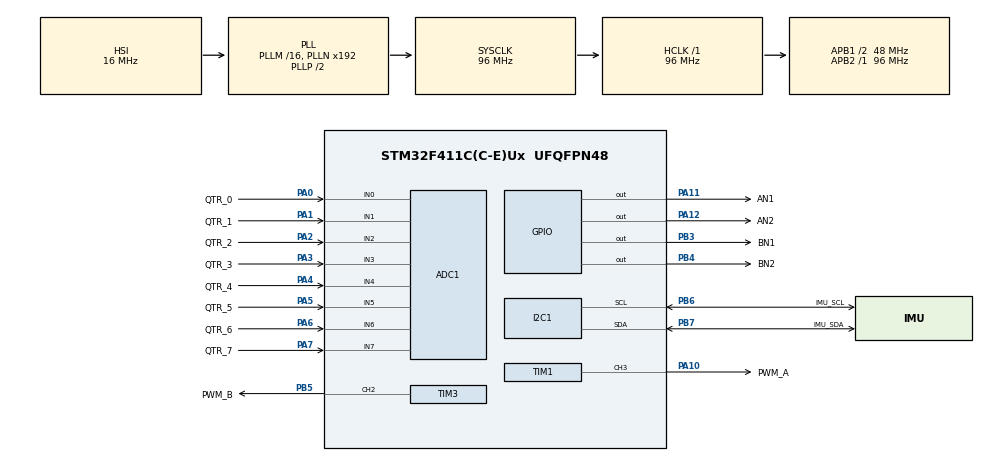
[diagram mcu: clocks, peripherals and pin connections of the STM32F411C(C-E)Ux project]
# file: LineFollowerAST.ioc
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ADC1.Channel-0\#ChannelRegularConversion=ADC_CHANNEL_0
ADC1.Channel-1\#ChannelRegularConversion=ADC_CHANNEL_1
ADC1.Channel-2\#ChannelRegularConversion=ADC_CHANNEL_2
ADC1.Channel-3\#ChannelRegularConversion=ADC_CHANNEL_3
ADC1.Channel-4\#ChannelRegularConversion=ADC_CHANNEL_4
ADC1.Channel-5\#ChannelRegularConversion=ADC_CHANNEL_5
ADC1.Channel-6\#ChannelRegularConversion=ADC_CHANNEL_6
ADC1.Channel-7\#ChannelRegularConversion=ADC_CHANNEL_7
ADC1.ContinuousConvMode=ENABLE
ADC1.DMAContinuousRequests=ENABLE
ADC1.EOCSelection=ADC_EOC_SEQ_CONV
ADC1.NbrOfConversion=8
ADC1.NbrOfConversionFlag=1
ADC1.Rank-0\#ChannelRegularConversion=1
ADC1.Rank-1\#ChannelRegularConversion=2
ADC1.Rank-2\#ChannelRegularConversion=3
ADC1.Rank-3\#ChannelRegularConversion=4
ADC1.Rank-4\#ChannelRegularConversion=5
ADC1.Rank-5\#ChannelRegularConversion=6
ADC1.Rank-6\#ChannelRegularConversion=7
ADC1.Rank-7\#ChannelRegularConversion=8
ADC1.SamplingTime-0\#ChannelRegularConversion=ADC_SAMPLETIME_56CYCLES
ADC1.SamplingTime-1\#ChannelRegularConversion=ADC_SAMPLETIME_56CYCLES
ADC1.SamplingTime-2\#ChannelRegularConversion=ADC_SAMPLETIME_56CYCLES
ADC1.SamplingTime-3\#ChannelRegularConversion=ADC_SAMPLETIME_56CYCLES
ADC1.SamplingTime-4\#ChannelRegularConversion=ADC_SAMPLETIME_56CYCLES
ADC1.SamplingTime-5\#ChannelRegularConversion=ADC_SAMPLETIME_56CYCLES
ADC1.SamplingTime-6\#ChannelRegularConversion=ADC_SAMPLETIME_56CYCLES
ADC1.SamplingTime-7\#ChannelRegularConversion=ADC_SAMPLETIME_56CYCLES
ADC1.ScanConvMode=ENABLE
ADC1.master=1
Dma.ADC1.0.Direction=DMA_PERIPH_TO_MEMORY
Dma.ADC1.0.FIFOMode=DMA_FIFOMODE_DISABLE
Dma.ADC1.0.Instance=DMA2_Stream0
Dma.ADC1.0.MemDataAlignment=DMA_MDATAALIGN_HALFWORD
Dma.ADC1.0.MemInc=DMA_MINC_ENABLE
Dma.ADC1.0.Mode=DMA_CIRCULAR
Dma.ADC1.0.PeriphDataAlignment=DMA_PDATAALIGN_HALFWORD
Dma.ADC1.0.PeriphInc=DMA_PINC_DISABLE
Dma.ADC1.0.Priority=DMA_PRIORITY_HIGH
Dma.Request0=ADC1
I2C1.I2C_Mode=I2C_Fast
Mcu.Family=STM32F4
Mcu.Name=STM32F411C(C-E)Ux
Mcu.Package=UFQFPN48
NVIC.DMA2_Stream0_IRQn=true\:0\:0\:false\:false\:true\:false\:true\:true
NVIC.I2C1_ER_IRQn=true\:0\:0\:false\:false\:true\:true\:true\:true
NVIC.I2C1_EV_IRQn=true\:0\:0\:false\:false\:true\:true\:true\:true
NVIC.PriorityGroup=NVIC_PRIORITYGROUP_4
NVIC.TIM1_UP_TIM10_IRQn=true\:0\:0\:false\:false\:true\:true\:true\:true
PA0-WKUP.GPIO_Label=QTR_0
PA0-WKUP.Signal=SharedAnalog_PA0
PA1.GPIO_Label=QTR_1
PA1.Signal=SharedAnalog_PA1
PA10.GPIO_Label=PWM_A
PA10.Signal=S_TIM1_CH3
PA11.GPIO_Label=AN1
PA11.Signal=GPIO_Output
PA12.GPIO_Label=AN2
PA12.Signal=GPIO_Output
PA13.Mode=Serial_Wire
PA13.Signal=SYS_JTMS-SWDIO
PA14.Mode=Serial_Wire
PA14.Signal=SYS_JTCK-SWCLK
PA2.GPIO_Label=QTR_2
PA2.Signal=SharedAnalog_PA2
PA3.GPIO_Label=QTR_3
PA3.Signal=SharedAnalog_PA3
PA4.GPIO_Label=QTR_4
PA4.Signal=SharedAnalog_PA4
PA5.GPIO_Label=QTR_5
PA5.Signal=SharedAnalog_PA5
PA6.GPIO_Label=QTR_6
PA6.Signal=SharedAnalog_PA6
PA7.GPIO_Label=QTR_7
PA7.Signal=SharedAnalog_PA7
PB3.GPIO_Label=BN1
PB3.Signal=GPIO_Output
PB4.GPIO_Label=BN2
PB4.Signal=GPIO_Output
PB5.GPIO_Label=PWM_B
PB5.Signal=S_TIM3_CH2
PB6.GPIO_Label=IMU_SCL
PB6.Mode=I2C
PB6.Signal=I2C1_SCL
PB7.GPIO_Label=IMU_SDA
PB7.Mode=I2C
PB7.Signal=I2C1_SDA
ProjectManager.HeapSize=0x200
ProjectManager.StackSize=0x400
ProjectManager.TargetToolchain=STM32CubeIDE
RCC.AHBFreq_Value=96000000
RCC.APB1CLKDivider=RCC_HCLK_DIV2
RCC.APB1Freq_Value=48000000
RCC.APB1TimFreq_Value=96000000
RCC.APB2Freq_Value=96000000
RCC.APB2TimFreq_Value=96000000
RCC.CortexFreq_Value=96000000
RCC.HCLKFreq_Value=96000000
RCC.HSE_VALUE=25000000
RCC.HSI_VALUE=16000000
RCC.LSE_VALUE=32768
RCC.SYSCLKFreq_VALUE=96000000
RCC.SYSCLKSource=RCC_SYSCLKSOURCE_PLLCLK
RCC.VCOOutputFreq_Value=192000000
SH.S_TIM1_CH3.0=TIM1_CH3,PWM Generation3 CH3
SH.S_TIM3_CH2.0=TIM3_CH2,PWM Generation2 CH2
SH.SharedAnalog_PA0.0=GPIO_Analog
SH.SharedAnalog_PA0.1=ADC1_IN0,IN0
SH.SharedAnalog_PA1.0=GPIO_Analog
SH.SharedAnalog_PA1.1=ADC1_IN1,IN1
SH.SharedAnalog_PA2.0=GPIO_Analog
SH.SharedAnalog_PA2.1=ADC1_IN2,IN2
SH.SharedAnalog_PA3.0=GPIO_Analog
SH.SharedAnalog_PA3.1=ADC1_IN3,IN3
SH.SharedAnalog_PA4.0=GPIO_Analog
SH.SharedAnalog_PA4.1=ADC1_IN4,IN4
SH.SharedAnalog_PA5.0=GPIO_Analog
SH.SharedAnalog_PA5.1=ADC1_IN5,IN5
SH.SharedAnalog_PA6.0=GPIO_Analog
SH.SharedAnalog_PA6.1=ADC1_IN6,IN6
SH.SharedAnalog_PA7.0=GPIO_Analog
SH.SharedAnalog_PA7.1=ADC1_IN7,IN7
TIM1.AutoReloadPreload=TIM_AUTORELOAD_PRELOAD_ENABLE
TIM1.Channel-PWM\ Generation3\ CH3=TIM_CHANNEL_3
TIM1.Period=999
TIM1.Prescaler=4
TIM10.AutoReloadPreload=TIM_AUTORELOAD_PRELOAD_DISABLE
TIM10.Channel=TIM_CHANNEL_1
TIM10.Period=999
TIM10.Prescaler=95
TIM3.AutoReloadPreload=TIM_AUTORELOAD_PRELOAD_ENABLE
TIM3.Channel-PWM\ Generation2\ CH2=TIM_CHANNEL_2
TIM3.Period=999
TIM3.Prescaler=4
VP_TIM10_VS_ClockSourceINT.Mode=Enable_Timer
VP_TIM10_VS_no_output1.Mode=Output Compare1 No Output
board=custom

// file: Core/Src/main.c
/* USER CODE BEGIN Header */
/**
  ******************************************************************************
  * @file           : main.c
  * @brief          : Main program body
  ******************************************************************************
  * @attention
  *
  * Copyright (c) 2026 STMicroelectronics.
  * All rights reserved.
  *
  * This software is licensed under terms that can be found in the LICENSE file
  * in the root directory of this software component.
  * If no LICENSE file comes with this software, it is provided AS-IS.
  *
  ******************************************************************************
  */
/* USER CODE END Header */
#include "main.h"
#include "adc.h"
#include "dma.h"
#include "i2c.h"
#include "tim.h"
#include "gpio.h"

/* USER CODE BEGIN Includes */
#include "motor.h"
#include "qtr.h"
#include "pid.h"
/* USER CODE END Includes */

/* USER CODE BEGIN PV */
volatile uint8_t tick_flag = 0;

Motor left;
Motor right;
QTR qtr;
PID lineFollower;

volatile uint32_t cal[QTR_COUNT];
volatile uint32_t line = 0;
/* USER CODE END PV */

void SystemClock_Config(void);

/* USER CODE BEGIN 0 */
void HAL_TIM_PeriodElapsedCallback(TIM_HandleTypeDef *htim)
{
    if (htim->Instance == TIM10) tick_flag = 1;
}

/* USER CODE END 0 */

int main(void)
{

  /* MCU Configuration--------------------------------------------------------*/

  /* Reset of all peripherals, Initializes the Flash interface and the Systick. */
  HAL_Init();

  /* Configure the system clock */
  SystemClock_Config();

  /* Initialize all configured peripherals */
  MX_GPIO_Init();
  MX_DMA_Init();
  MX_I2C1_Init();
  MX_TIM1_Init();
  MX_TIM3_Init();
  MX_ADC1_Init();
  MX_TIM10_Init();
  /* USER CODE BEGIN 2 */

  motorInit(&left, GPIOA, GPIO_PIN_12, GPIOA, GPIO_PIN_11, &htim1, TIM_CHANNEL_3);
  motorInit(&right, GPIOB, GPIO_PIN_3, GPIOB, GPIO_PIN_4, &htim3, TIM_CHANNEL_2);

  qtrInit(&qtr, &hadc1);
  HAL_Delay(10);

  pidInit(&lineFollower, &left, &right, &qtr, &htim10, 18, 1.5, 0.3, 360); // Kp, Kd, Ki, baseSpeed

  for (int i = 0; i < 1000; i++){      // ~3 s at 3 ms
      qtrCalibrate(&qtr);
      HAL_Delay(3);
  }

  /* USER CODE END 2 */

  /* Infinite loop */
  /* USER CODE BEGIN WHILE */
  while (1)
  {

	  if (tick_flag == 1){

		  tick_flag = 0;
		  pidFollow(&lineFollower);
	  }
    /* USER CODE END WHILE */

  }
}

void SystemClock_Config(void)
{
  RCC_OscInitTypeDef RCC_OscInitStruct = {0};
  RCC_ClkInitTypeDef RCC_ClkInitStruct = {0};

  /** Configure the main internal regulator output voltage
  */
  __HAL_RCC_PWR_CLK_ENABLE();
  __HAL_PWR_VOLTAGESCALING_CONFIG(PWR_REGULATOR_VOLTAGE_SCALE1);

  /** Initializes the RCC Oscillators according to the specified parameters
  * in the RCC_OscInitTypeDef structure.
  */
  RCC_OscInitStruct.OscillatorType = RCC_OSCILLATORTYPE_HSI;
  RCC_OscInitStruct.HSIState = RCC_HSI_ON;
  RCC_OscInitStruct.HSICalibrationValue = RCC_HSICALIBRATION_DEFAULT;
  RCC_OscInitStruct.PLL.PLLState = RCC_PLL_ON;
  RCC_OscInitStruct.PLL.PLLSource = RCC_PLLSOURCE_HSI;
  RCC_OscInitStruct.PLL.PLLM = 16;
  RCC_OscInitStruct.PLL.PLLN = 192;
  RCC_OscInitStruct.PLL.PLLP = RCC_PLLP_DIV2;
  RCC_OscInitStruct.PLL.PLLQ = 4;
  if (HAL_RCC_OscConfig(&RCC_OscInitStruct) != HAL_OK)
  {
    Error_Handler();
  }

  /** Initializes the CPU, AHB and APB buses clocks
  */
  RCC_ClkInitStruct.ClockType = RCC_CLOCKTYPE_HCLK|RCC_CLOCKTYPE_SYSCLK
                              |RCC_CLOCKTYPE_PCLK1|RCC_CLOCKTYPE_PCLK2;
  RCC_ClkInitStruct.SYSCLKSource = RCC_SYSCLKSOURCE_PLLCLK;
  RCC_ClkInitStruct.AHBCLKDivider = RCC_SYSCLK_DIV1;
  RCC_ClkInitStruct.APB1CLKDivider = RCC_HCLK_DIV2;
  RCC_ClkInitStruct.APB2CLKDivider = RCC_HCLK_DIV1;

  if (HAL_RCC_ClockConfig(&RCC_ClkInitStruct, FLASH_LATENCY_3) != HAL_OK)
  {
    Error_Handler();
  }
}

void Error_Handler(void)
{
  __disable_irq();
  while (1)
  {
  }
}
